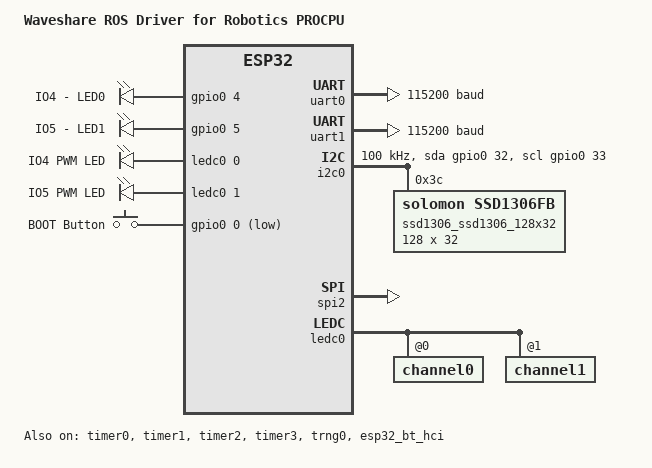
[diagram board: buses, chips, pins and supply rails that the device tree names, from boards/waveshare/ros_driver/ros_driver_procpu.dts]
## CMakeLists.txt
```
cmake_minimum_required(VERSION 3.20.0)

find_package(Zephyr REQUIRED HINTS $ENV{ZEPHYR_BASE})

project(rasprover)

target_sources(app PRIVATE src/main.c)
# target_sources(app PRIVATE src/app_rpc.c)
target_sources(app PRIVATE src/app_settings.c)
# target_sources(app PRIVATE src/app_state.c)
target_sources(app PRIVATE src/app_sensors.c)
```

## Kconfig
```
mainmenu "Application options"

if DNS_RESOLVER

config DNS_SERVER_IP_ADDRESSES
	default y

config DNS_SERVER1
	default "1.1.1.1"

endif # DNS_RESOLVER

source "Kconfig.zephyr"
```

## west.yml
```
manifest:
  remotes:
    - name: eclipse-zenoh
      url-base: https://github.com/eclipse-zenoh
    - name: golioth
      url-base: https://github.com/golioth
    - name: rosterloh
      url-base: https://github.com/rosterloh
    - name: zephyrproject-rtos
      url-base: https://github.com/zephyrproject-rtos

  projects:
    - name: zephyr
      remote: zephyrproject-rtos
      revision: main
      import:
        # By using name-allowlist we can clone only the modules that are
        # strictly needed by the application.
        name-allowlist:
          - cmsis
          - hal_espressif
          - lvgl
          - mbedtls
          - mcuboot
          - zcbor

    - name: golioth
      repo-path: golioth-firmware-sdk
      remote: golioth
      path: modules/lib/golioth-firmware-sdk
      revision: v0.16.0
      submodules: true

    - name: rosterloh-drivers
      repo-path: zephyr-drivers
      remote: rosterloh
      revision: main
      path: modules/lib/rosterloh-drivers

    - name: zenoh
      repo-path: zenoh-pico
      remote: eclipse-zenoh
      revision: 1.0.3
      path: modules/lib/zenoh
```

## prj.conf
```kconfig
# Application
CONFIG_MAIN_STACK_SIZE=2048
CONFIG_SYSTEM_WORKQUEUE_STACK_SIZE=2048
CONFIG_NET_LOG=y
CONFIG_NET_SHELL=y
CONFIG_REBOOT=y

# Flash memory (etc.) for firmware upgrade
CONFIG_FLASH=y
CONFIG_FLASH_MAP=y
CONFIG_ZMS=y
CONFIG_STREAM_FLASH=y
CONFIG_IMG_MANAGER=y
CONFIG_IMG_ERASE_PROGRESSIVELY=y

# The rest of the runtime credentials config
CONFIG_SETTINGS=y
CONFIG_SETTINGS_RUNTIME=y
CONFIG_GOLIOTH_SAMPLE_SETTINGS=y
CONFIG_GOLIOTH_SAMPLE_SETTINGS_AUTOLOAD=y
CONFIG_GOLIOTH_SAMPLE_SETTINGS_SHELL=y

# Drivers
CONFIG_DISPLAY=y
CONFIG_I2C=y
CONFIG_SENSOR=y

# OLED Display
CONFIG_LVGL=y
CONFIG_LV_FONT_MONTSERRAT_48=y

# Enable Golioth Firmware SDK
CONFIG_GOLIOTH_FIRMWARE_SDK=y

# Golioth services used in this app
CONFIG_GOLIOTH_FW_UPDATE=y
CONFIG_GOLIOTH_LIGHTDB_STATE=y
CONFIG_LOG_BACKEND_GOLIOTH=y
CONFIG_GOLIOTH_RPC=y
CONFIG_GOLIOTH_SETTINGS=y
CONFIG_GOLIOTH_STREAM=y

# Enable common sample library
CONFIG_GOLIOTH_SAMPLE_COMMON=y

# Configure Golioth SDK dependencies
CONFIG_ZVFS_EVENTFD_MAX=14
CONFIG_ZVFS_OPEN_MAX=23
CONFIG_LOG_PROCESS_THREAD_STACK_SIZE=1536
CONFIG_MBEDTLS_ENABLE_HEAP=y
CONFIG_MBEDTLS_HEAP_SIZE=10240
# CONFIG_MBEDTLS_SSL_IN_CONTENT_LEN=2048
# CONFIG_MBEDTLS_SSL_OUT_CONTENT_LEN=2048
CONFIG_NETWORKING=y
CONFIG_NET_IPV4=y
```

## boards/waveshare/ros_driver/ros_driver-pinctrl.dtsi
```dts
#include <zephyr/dt-bindings/pinctrl/esp-pinctrl-common.h>
#include <dt-bindings/pinctrl/esp32-pinctrl.h>
#include <zephyr/dt-bindings/pinctrl/esp32-gpio-sigmap.h>

&pinctrl {

	uart0_default: uart0_default {
		group1 {
			pinmux = <UART0_TX_GPIO1>;
			output-high;
		};
		group2 {
			pinmux = <UART0_RX_GPIO3>;
			bias-pull-up;
		};
	};

    uart1_default: uart1_default {
		group1 {
			pinmux = <UART1_TX_GPIO19>;
			output-high;
		};
		group2 {
			pinmux = <UART1_RX_GPIO18>;
			bias-pull-up;
		};
	};

	spim2_default: spim2_default {
		group1 {
			pinmux = <SPIM2_MISO_GPIO12>,
				 <SPIM2_SCLK_GPIO14>,
				 <SPIM2_CSEL_GPIO15>;
		};
		group2 {
			pinmux = <SPIM2_MOSI_GPIO13>;
			output-low;
		};
	};

	i2c0_default: i2c0_default {
		group1 {
			pinmux = <I2C0_SDA_GPIO32>,
				 <I2C0_SCL_GPIO33>;
			bias-pull-up;
			drive-open-drain;
			output-high;
		};
	};

    ledc0_default: ledc0_default {
		group1 {
			pinmux = <LEDC_CH0_GPIO4>,
				 <LEDC_CH1_GPIO5>;
			output-enable;
		};
	};
};
```

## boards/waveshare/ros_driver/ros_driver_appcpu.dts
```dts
/dts-v1/;

#include <espressif/esp32/esp32_appcpu.dtsi>

/ {
	model = "Waveshare ROS Driver for Robotics APPCPU";
	compatible = "espressif,esp32";

	chosen {
		zephyr,sram = &sram0;
		zephyr,ipc_shm = &shm0;
		zephyr,ipc = &ipm0;
	};
};

&ipm0 {
	status = "okay";
};

&trng0 {
	status = "okay";
};

&flash0 {
	status = "okay";
	partitions {
		compatible = "fixed-partitions";
		#address-cells = <1>;
		#size-cells = <1>;

		/* Reserve 60kB for the bootloader */
		boot_partition: partition@1000 {
			label = "mcuboot";
			reg = <0x00001000 DT_SIZE_K(60)>;
			read-only;
		};

		/* Reserve 1024kB for the application in slot 0 */
		slot0_partition: partition@10000 {
			label = "image-0";
			reg = <0x00010000 DT_SIZE_M(1)>;
		};

		/* Reserve 1024kB for the application in slot 1 */
		slot1_partition: partition@110000 {
			label = "image-1";
			reg = <0x00110000 DT_SIZE_M(1)>;
		};

		/* Reserve 256kB for the scratch partition */
		scratch_partition: partition@210000 {
			   label = "image-scratch";
			   reg = <0x00210000 DT_SIZE_K(256)>;
		};

		storage_partition: partition@250000 {
			label = "storage";
			reg = <0x00250000 DT_SIZE_K(24)>;
		};
	};
};
```

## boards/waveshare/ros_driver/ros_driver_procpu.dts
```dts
/dts-v1/;

#include <espressif/esp32/esp32_wroom_32ue_n4.dtsi>
#include "ros_driver-pinctrl.dtsi"
// #include "grove_connectors.dtsi"
// #include "raspberrypi_40pins_connector.dtsi"
#include <zephyr/dt-bindings/input/input-event-codes.h>

/ {
	model = "Waveshare ROS Driver for Robotics PROCPU";
	compatible = "espressif,esp32";

	aliases {
		led0 = &io4_led;
		led1 = &io5_led;
		pwm-led0 = &pwm_led_io4;
		pwm-led1 = &pwm_led_io5;
		sw0 = &button0;
		uart-0 = &uart0;
		i2c-0 = &i2c0;
		watchdog0 = &wdt0;
	};

	chosen {
		zephyr,sram = &sram0;
		zephyr,console = &uart0;
		zephyr,shell-uart = &uart0;
		zephyr,flash = &flash0;
		zephyr,code-partition = &slot0_partition;
		zephyr,bt-hci = &esp32_bt_hci;
		zephyr,display = &ssd1306_ssd1306_128x32;
	};

	leds {
		compatible = "gpio-leds";

		io4_led: led_0 {
			gpios =  <&gpio0 4 GPIO_ACTIVE_HIGH>;
			label = "IO4 - LED0";
		};

		io5_led: led_1 {
			gpios =  <&gpio0 5 GPIO_ACTIVE_HIGH>;
			label = "IO5 - LED1";
		};
	};

	pwmleds {
		compatible = "pwm-leds";
		pwm_led_io4: pwm_led_0 {
			label = "IO4 PWM LED";
			pwms = <&ledc0 0 PWM_HZ(100) PWM_POLARITY_NORMAL>;
		};
		pwm_led_io5: pwm_led_1 {
			label = "IO5 PWM LED";
			pwms = <&ledc0 1 PWM_HZ(100) PWM_POLARITY_NORMAL>;
		};
	};

	buttons {
		compatible = "gpio-keys";
		button0: button_0 {
			gpios = <&gpio0 0 (GPIO_PULL_UP | GPIO_ACTIVE_LOW)>;
			label = "BOOT Button";
			zephyr,code = <INPUT_KEY_0>;
		};
	};
};

&uart0 {
	status = "okay";
	current-speed = <115200>;
	pinctrl-0 = <&uart0_default>;
	pinctrl-names = "default";
};

&uart1 {
	current-speed = <115200>;
	pinctrl-0 = <&uart1_default>;
	pinctrl-names = "default";
};

&gpio0 {
	status = "okay";
};

&gpio1 {
	status = "okay";
};

&i2c0 {
	status = "okay";
	clock-frequency = <I2C_BITRATE_STANDARD>;
	sda-gpios = <&gpio0 32 GPIO_OPEN_DRAIN>;
	scl-gpios = <&gpio0 33 GPIO_OPEN_DRAIN>;
	pinctrl-0 = <&i2c0_default>;
	pinctrl-names = "default";

	ssd1306_ssd1306_128x32: ssd1306@3c {
		compatible = "solomon,ssd1306fb";
		reg = <0x3c>;
		width = <128>;
		height = <32>;
		segment-offset = <0>;
		page-offset = <0>;
		display-offset = <0>;
		multiplex-ratio = <31>;
		segment-remap;
		com-invdir;
		com-sequential;
		prechargep = <0x22>;
	};
};

&spi2 {
	#address-cells = <1>;
	#size-cells = <0>;
	status = "okay";
	pinctrl-0 = <&spim2_default>;
	pinctrl-names = "default";
};


&ledc0 {
	pinctrl-0 = <&ledc0_default>;
	pinctrl-names = "default";
	status = "okay";
	#address-cells = <1>;
	#size-cells = <0>;
	channel0@0 {
		reg = <0x0>;
		timer = <0>;
	};
	channel1@1 {
		reg = <0x1>;
		timer = <1>;
	};
};

&timer0 {
	status = "okay";
};

&timer1 {
	status = "okay";
};

&timer2 {
	status = "okay";
};

&timer3 {
	status = "okay";
};

&trng0 {
	status = "okay";
};

&psram0 {
	status = "disabled";
};

&flash0 {
	status = "okay";
	partitions {
		compatible = "fixed-partitions";
		#address-cells = <1>;
		#size-cells = <1>;

		/* Reserve 60kB for the bootloader */
		boot_partition: partition@1000 {
			label = "mcuboot";
			reg = <0x00001000 DT_SIZE_K(60)>;
			read-only;
		};

		/* Reserve 1024kB for the application in slot 0 */
		slot0_partition: partition@10000 {
			label = "image-0";
			reg = <0x00010000 DT_SIZE_M(1)>;
		};

		/* Reserve 1024kB for the application in slot 1 */
		slot1_partition: partition@110000 {
			label = "image-1";
			reg = <0x00110000 DT_SIZE_M(1)>;
		};

		/* Reserve 256kB for the scratch partition */
		scratch_partition: partition@210000 {
			   label = "image-scratch";
			   reg = <0x00210000 DT_SIZE_K(256)>;
		};

		storage_partition: partition@250000 {
			label = "storage";
			reg = <0x00250000 DT_SIZE_K(24)>;
		};
	};
};

&esp32_bt_hci {
	status = "okay";
};
```

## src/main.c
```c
#include <zephyr/logging/log.h>
LOG_MODULE_REGISTER(main, LOG_LEVEL_DBG);

#include <app_version.h>
#include "app_settings.h"
#include "app_sensors.h"
#include <golioth/client.h>
#include <golioth/fw_update.h>
#include <samples/common/net_connect.h>
#include <samples/common/sample_credentials.h>
#include <zephyr/kernel.h>

/* Current firmware version; update in VERSION */
static const char *_current_version =
	STRINGIFY(APP_VERSION_MAJOR) "." STRINGIFY(APP_VERSION_MINOR) "." STRINGIFY(APP_PATCHLEVEL);

static struct golioth_client *client;
K_SEM_DEFINE(connected, 0, 1);

static k_tid_t _system_thread = 0;

void wake_system_thread(void)
{
	k_wakeup(_system_thread);
}

static void on_client_event(struct golioth_client *client, enum golioth_client_event event,
			    void *arg)
{
	bool is_connected = (event == GOLIOTH_CLIENT_EVENT_CONNECTED);

	if (is_connected) {
		k_sem_give(&connected);
		// golioth_connection_led_set(1);
	}
	LOG_INF("Golioth client %s", is_connected ? "connected" : "disconnected");
}

static void start_golioth_client(void)
{
	/* Get the client configuration from auto-loaded settings */
	const struct golioth_client_config *client_config = golioth_sample_credentials_get();

	/* Create and start a Golioth Client */
	client = golioth_client_create(client_config);

	/* Register Golioth on_connect callback */
	golioth_client_register_event_callback(client, on_client_event, NULL);

	/* Initialise DFU components */
	golioth_fw_update_init(client, _current_version);

	/* Observe State service data */
	// app_state_observe(client);

	/* Set Golioth Client for streaming sensor data */
	app_sensors_set_client(client);

	/* Register Settings service */
	app_settings_register(client);

	/* Register RPC service */
	// app_rpc_register(client);
}

int main(void)
{
	int err;
	LOG_INF("Firmware version: %s", _current_version);

	/* Get system thread id so loop delay change event can wake main */
	_system_thread = k_current_get();

	/* Run WiFi/DHCP if necessary */
	if (IS_ENABLED(CONFIG_GOLIOTH_SAMPLE_COMMON)) {
		net_connect();
	}

	/* Start Golioth client */
	start_golioth_client();

	/* Block until connected to Golioth */
	k_sem_take(&connected, K_FOREVER);

	app_sensors_init();

	while (true) {
		app_sensors_read_and_stream();

		k_sleep(K_SECONDS(get_loop_delay_s()));
	}
}
```

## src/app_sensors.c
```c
#include <zephyr/logging/log.h>
LOG_MODULE_REGISTER(app_sensors, LOG_LEVEL_DBG);

#include <golioth/client.h>
#include <golioth/stream.h>
#include <zcbor_encode.h>
#include <zephyr/drivers/gpio.h>
#include <zephyr/drivers/sensor.h>
#include <zephyr/kernel.h>

#include "app_sensors.h"

static struct golioth_client *client;

const struct device *current_sensor = DEVICE_DT_GET(DT_NODELABEL(ina219));

/* Callback for LightDB Stream */
static void async_error_handler(struct golioth_client *client, enum golioth_status status,
				const struct golioth_coap_rsp_code *coap_rsp_code, const char *path,
				void *arg)
{
	if (status != GOLIOTH_OK) {
		LOG_ERR("Async task failed: %d", status);
		return;
	}
}

void app_sensors_read_and_stream(void)
{
	struct sensor_value v_bus, power, current;
	int err;

	/* Read all sensors */
	err = sensor_sample_fetch(current_sensor);
	if (err) {
		LOG_ERR("Current sensor fetch failed: %d", err);
	}

	sensor_channel_get(current_sensor, SENSOR_CHAN_VOLTAGE, &v_bus);
	sensor_channel_get(current_sensor, SENSOR_CHAN_POWER, &power);
	sensor_channel_get(current_sensor, SENSOR_CHAN_CURRENT, &current);
	LOG_INF("v=%d.%d [V], i=%d.%d [A], p=%d.%d [W]", v_bus.val1, v_bus.val2, current.val2,
		current.val2, power.val1, power.val2);

	/* Only stream sensor data if connected */
	if (golioth_client_is_connected(client)) {
		/* Encode sensor data using CBOR serialization */
		uint8_t cbor_buf[13];

		ZCBOR_STATE_E(zse, 1, cbor_buf, sizeof(cbor_buf), 1);

		bool ok = zcbor_map_start_encode(zse, 1) && zcbor_tstr_put_lit(zse, "current") &&
			  zcbor_float32_put(zse, sensor_value_to_double(&current)) &&
			  zcbor_map_end_encode(zse, 1);

		if (!ok) {
			LOG_ERR("Failed to encode CBOR.");
			return;
		}

		size_t cbor_size = zse->payload - cbor_buf;

		/* Stream data to Golioth */
		err = golioth_stream_set_async(client, "sensor", GOLIOTH_CONTENT_TYPE_CBOR,
					       cbor_buf, cbor_size, async_error_handler, NULL);
		if (err) {
			LOG_ERR("Failed to send sensor data to Golioth: %d", err);
		}
	} else {
		LOG_DBG("No connection available, skipping streaming data");
	}
}

void app_sensors_set_client(struct golioth_client *sensors_client)
{
	client = sensors_client;
}

void app_sensors_init(void)
{
	if (!device_is_ready(current_sensor)) {
		LOG_ERR("Device %s is not ready.", current_sensor->name);
	}
}
```

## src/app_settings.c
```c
#include <zephyr/logging/log.h>
LOG_MODULE_REGISTER(app_settings, LOG_LEVEL_DBG);

#include <golioth/client.h>
#include <golioth/settings.h>
#include "main.h"
#include "app_settings.h"

#define LOOP_DELAY_S_MAX 43200
#define LOOP_DELAY_S_MIN 1

static int32_t _loop_delay_s = 60;

int32_t get_loop_delay_s(void)
{
	return _loop_delay_s;
}

static enum golioth_settings_status on_loop_delay_setting(int32_t new_value, void *arg)
{
	_loop_delay_s = new_value;
	LOG_INF("Set loop delay to %i seconds", new_value);
	wake_system_thread();
	return GOLIOTH_SETTINGS_SUCCESS;
}

int app_settings_register(struct golioth_client *client)
{
	struct golioth_settings *settings = golioth_settings_init(client);

	int err = golioth_settings_register_int_with_range(settings, "LOOP_DELAY_S",
							   LOOP_DELAY_S_MIN, LOOP_DELAY_S_MAX,
							   on_loop_delay_setting, NULL);

	if (err) {
		LOG_ERR("Failed to register settings callback: %d", err);
	}

	return err;
}
```

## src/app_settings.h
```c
#ifndef __APP_SETTINGS_H__
#define __APP_SETTINGS_H__

#include <stdint.h>
#include <golioth/client.h>

int32_t get_loop_delay_s(void);
int app_settings_register(struct golioth_client *client);

#endif /* __APP_SETTINGS_H__ */
```

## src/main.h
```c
void wake_system_thread(void);
```
